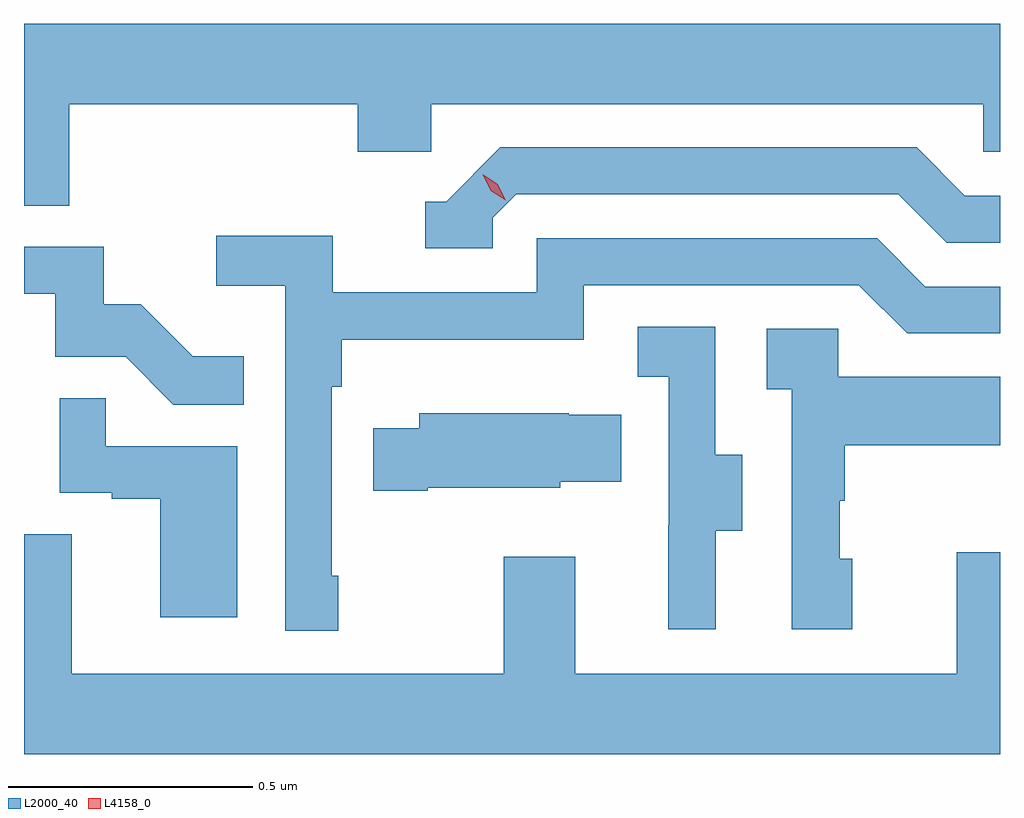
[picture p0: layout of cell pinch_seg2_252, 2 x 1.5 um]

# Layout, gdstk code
import gdstk
lib = gdstk.Library(unit=1e-6, precision=1e-09)
def P(c, l, *ps):  # polygons
    for p in ps: c.add(gdstk.Polygon(p, *l))
L2000_40 = (2000, 40)
L4158_0 = (4158, 0)

pinch_seg2_252 = lib.new_cell('pinch_seg2_252')
P(pinch_seg2_252, L2000_40, [(935.72,663.62),(936.311,663.62),(936.311,663.522),(936.462,663.522),(936.462,663.62),(937.593,663.62),(937.593,663.522),(937.627,663.522),(937.627,663.784),(935.627,663.784),(935.627,663.412),(935.72,663.412)],
  [(936.588,663.387),(936.636,663.435),(937.419,663.435),(937.518,663.336),(937.627,663.336),(937.627,663.432),(937.555,663.432),(937.456,663.531),(936.603,663.531),(936.492,663.42),(936.449,663.42),(936.449,663.324),(936.588,663.324)],
  [(936.271,662.653),(936.258,662.653),(936.258,663.041),(936.278,663.041),(936.278,663.137),(936.774,663.137),(936.774,663.249),(937.338,663.249),(937.437,663.15),(937.627,663.15),(937.627,663.246),(937.474,663.246),(937.375,663.345),(936.678,663.345),(936.678,663.234),(936.26,663.234),(936.26,663.35),(936.021,663.35),(936.021,663.248),(936.162,663.248),(936.162,662.541),(936.271,662.541)],
  [(936.077,663.103),(935.973,663.103),(935.866,663.21),(935.79,663.21),(935.79,663.327),(935.627,663.327),(935.627,663.231),(935.691,663.231),(935.691,663.102),(935.835,663.102),(935.933,663.004),(936.077,663.004)],
  [(937.045,662.746),(937.099,662.746),(937.099,662.901),(937.044,662.901),(937.044,663.164),(936.885,663.164),(936.885,663.061),(936.948,663.061),(936.948,662.757),(936.947,662.757),(936.947,662.544),(937.045,662.544)],
  [(937.324,662.688),(937.299,662.688),(937.299,662.807),(937.309,662.807),(937.309,662.921),(937.627,662.921),(937.627,663.061),(937.296,663.061),(937.296,663.159),(937.149,663.159),(937.149,663.035),(937.2,663.035),(937.2,662.544),(937.324,662.544)],
  [(936.064,662.919),(935.795,662.919),(935.795,663.017),(935.7,663.017),(935.7,662.823),(935.807,662.823),(935.807,662.811),(935.906,662.811),(935.906,662.568),(936.064,662.568)],
  [(936.454,662.834),(936.726,662.834),(936.726,662.846),(936.851,662.846),(936.851,662.983),(936.743,662.983),(936.743,662.986),(936.437,662.986),(936.437,662.956),(936.343,662.956),(936.343,662.827),(936.454,662.827)],
  [(937.627,662.701),(937.538,662.701),(937.538,662.452),(936.757,662.452),(936.757,662.692),(936.61,662.692),(936.61,662.452),(935.725,662.452),(935.725,662.738),(935.627,662.738),(935.627,662.288),(937.627,662.288)])
P(pinch_seg2_252, L4158_0, [(936.614,663.423),(936.583,663.442),(936.567,663.475),(936.567,663.475),(936.568,663.475),(936.598,663.456),(936.614,663.423),(936.614,663.423)])

lib.write_gds('pinch_seg2_252.gds')
